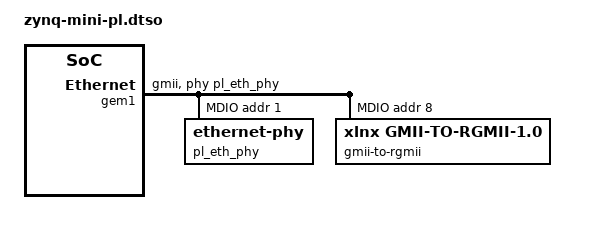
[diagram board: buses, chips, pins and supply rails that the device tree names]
// SPDX-License-Identifier: MIT
/*
 * zynq-mini-pl.dtso - the Linux view of this FPGA design, as a device-tree
 * overlay for the base DT's fpga-region (zynq-7000.dtsi).
 *
 * Applying it (fpgad, via /sys/kernel/config/device-tree/overlays) makes the
 * kernel program the PL from /lib/firmware/<firmware-name> first, then create
 * the nodes below. Removing it unbinds them before the next design goes in.
 * Ships inside the PL bundle next to the bitstream (linux/make-pl-bundle.sh),
 * so a design with another register window brings its own.
 *
 *   axi_regs: src/hdl/axi_regs.vhd at the base of M_AXI_GP0, 64 KB:
 *   registers at 0x0000, oscilloscope capture RAM at 0x8000-0xFFFF.
 *   generic-uio -> /dev/uioN (kernel arg uio_pdrv_genirq.of_id=generic-uio).
 *
 *   gem1: the second Ethernet. GEM1 runs over EMIO through the design's
 *   gmii_to_rgmii converter (MDIO address 8) to the RTL8211E on the PL pins
 *   (MDIO address 1). It exists only while this design is loaded: eth1, which
 *   /usr/lib/zynq-mini/netplug adds to the br0 bridge next to eth0.
 */
/dts-v1/;
/plugin/;

&{/fpga-region} {
	firmware-name = "zynq-mini-pl.bit.bin";
	#address-cells = <1>;
	#size-cells = <1>;

	axi_regs@40000000 {
		compatible = "generic-uio";
		reg = <0x40000000 0x10000>;
	};
};

&gem1 {
	status = "okay";
	phy-mode = "gmii";			/* the MAC side; the converter makes RGMII */
	phy-handle = <&pl_eth_phy>;

	mdio {
		#address-cells = <1>;
		#size-cells = <0>;

		pl_eth_phy: ethernet-phy@1 {
			reg = <1>;
		};

		gmii-to-rgmii@8 {
			compatible = "xlnx,gmii-to-rgmii-1.0";
			reg = <8>;
			phy-handle = <&pl_eth_phy>;
			clocks = <&clkc 16>;		/* FCLK1, 200 MHz: its IDELAYCTRL + clocks */
		};
	};
};
